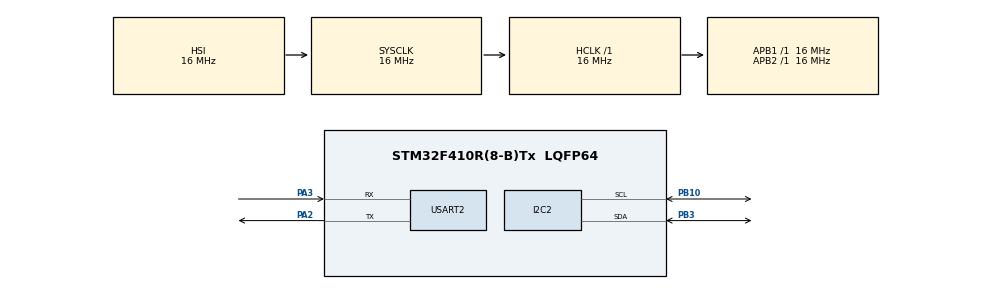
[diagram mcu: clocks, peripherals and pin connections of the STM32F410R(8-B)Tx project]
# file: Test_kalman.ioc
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Mcu.Family=STM32F4
Mcu.Name=STM32F410R(8-B)Tx
Mcu.Package=LQFP64
NVIC.PriorityGroup=NVIC_PRIORITYGROUP_4
PA13.Mode=Serial_Wire
PA13.Signal=SYS_JTMS-SWDIO
PA14.Mode=Serial_Wire
PA14.Signal=SYS_JTCK-SWCLK
PA2.Mode=Asynchronous
PA2.Signal=USART2_TX
PA3.Mode=Asynchronous
PA3.Signal=USART2_RX
PB10.Mode=I2C
PB10.Signal=I2C2_SCL
PB3.Mode=I2C
PB3.Signal=I2C2_SDA
PH0\ -\ OSC_IN.Mode=HSE-External-Oscillator
PH0\ -\ OSC_IN.Signal=RCC_OSC_IN
PH1\ -\ OSC_OUT.Mode=HSE-External-Oscillator
PH1\ -\ OSC_OUT.Signal=RCC_OSC_OUT
ProjectManager.HeapSize=0x200
ProjectManager.StackSize=0x400
ProjectManager.TargetToolchain=Makefile
RCC.AHBFreq_Value=16000000
RCC.APB1Freq_Value=16000000
RCC.APB2Freq_Value=16000000
RCC.CortexFreq_Value=16000000
RCC.HSE_VALUE=25000000
RCC.HSI_VALUE=16000000
RCC.LSE_VALUE=32768
RCC.SYSCLKFreq_VALUE=16000000
RCC.VCOOutputFreq_Value=192000000
USART2.VirtualMode=VM_ASYNC
board=custom

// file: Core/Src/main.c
/* USER CODE BEGIN Header */
/**
  ******************************************************************************
  * @file           : main.c
  * @brief          : Main program body
  ******************************************************************************
  * @attention
  *
  * Copyright (c) 2023 STMicroelectronics.
  * All rights reserved.
  *
  * This software is licensed under terms that can be found in the LICENSE file
  * in the root directory of this software component.
  * If no LICENSE file comes with this software, it is provided AS-IS.
  *
  ******************************************************************************
  */
/* USER CODE END Header */
#include "main.h"

/* USER CODE BEGIN Includes */
#include <stdio.h>
#include "mpu9255.h"
/* USER CODE END Includes */

I2C_HandleTypeDef hi2c2;

UART_HandleTypeDef huart2;

/* USER CODE BEGIN PV */
MPU9255_t MPU9255;
/* USER CODE END PV */

void SystemClock_Config(void);
static void MX_GPIO_Init(void);
static void MX_I2C2_Init(void);
static void MX_USART2_UART_Init(void);

/* USER CODE BEGIN 0 */
int _write(int file, char *ptr, int len)
{
	HAL_UART_Transmit(&huart2, (uint8_t*)ptr, len, HAL_MAX_DELAY);
	return len;
}

float pitch1;
float yaw1;
float roll1;
/* USER CODE END 0 */

int main(void)
{

  /* MCU Configuration--------------------------------------------------------*/

  /* Reset of all peripherals, Initializes the Flash interface and the Systick. */
  HAL_Init();

  /* Configure the system clock */
  SystemClock_Config();

  /* Initialize all configured peripherals */
  MX_GPIO_Init();
  MX_I2C2_Init();
  MX_USART2_UART_Init();
  /* USER CODE BEGIN 2 */
  while (MPU9255_Init(&hi2c2) == 1);

  //int count;

  HAL_Delay(3000);
  uint16_t count = 0;
  /* USER CODE END 2 */

  /* Infinite loop */
  while (1)
  {

    /* USER CODE BEGIN 3 */
    readAll(&hi2c2, &MPU9255);

	  pitch1 = MPU9255.pitch;
	  yaw1 = MPU9255.yaw;
	  roll1= MPU9255.roll;

	if (count == 10){
		printf("%f\t", yaw1);
		printf("%f\t", pitch1);
		printf("%f\t\n", roll1);
		count = 0;
	}
	count++;
  }
  /* USER CODE END 3 */
}

void SystemClock_Config(void)
{
  RCC_OscInitTypeDef RCC_OscInitStruct = {0};
  RCC_ClkInitTypeDef RCC_ClkInitStruct = {0};

  /** Configure the main internal regulator output voltage
  */
  __HAL_RCC_PWR_CLK_ENABLE();
  __HAL_PWR_VOLTAGESCALING_CONFIG(PWR_REGULATOR_VOLTAGE_SCALE1);

  /** Initializes the RCC Oscillators according to the specified parameters
  * in the RCC_OscInitTypeDef structure.
  */
  RCC_OscInitStruct.OscillatorType = RCC_OSCILLATORTYPE_HSI;
  RCC_OscInitStruct.HSIState = RCC_HSI_ON;
  RCC_OscInitStruct.HSICalibrationValue = RCC_HSICALIBRATION_DEFAULT;
  RCC_OscInitStruct.PLL.PLLState = RCC_PLL_NONE;
  if (HAL_RCC_OscConfig(&RCC_OscInitStruct) != HAL_OK)
  {
    Error_Handler();
  }

  /** Initializes the CPU, AHB and APB buses clocks
  */
  RCC_ClkInitStruct.ClockType = RCC_CLOCKTYPE_HCLK|RCC_CLOCKTYPE_SYSCLK
                              |RCC_CLOCKTYPE_PCLK1|RCC_CLOCKTYPE_PCLK2;
  RCC_ClkInitStruct.SYSCLKSource = RCC_SYSCLKSOURCE_HSI;
  RCC_ClkInitStruct.AHBCLKDivider = RCC_SYSCLK_DIV1;
  RCC_ClkInitStruct.APB1CLKDivider = RCC_HCLK_DIV1;
  RCC_ClkInitStruct.APB2CLKDivider = RCC_HCLK_DIV1;

  if (HAL_RCC_ClockConfig(&RCC_ClkInitStruct, FLASH_LATENCY_0) != HAL_OK)
  {
    Error_Handler();
  }
}

static void MX_I2C2_Init(void)
{

  hi2c2.Instance = I2C2;
  hi2c2.Init.ClockSpeed = 100000;
  hi2c2.Init.DutyCycle = I2C_DUTYCYCLE_2;
  hi2c2.Init.OwnAddress1 = 0;
  hi2c2.Init.AddressingMode = I2C_ADDRESSINGMODE_7BIT;
  hi2c2.Init.DualAddressMode = I2C_DUALADDRESS_DISABLE;
  hi2c2.Init.OwnAddress2 = 0;
  hi2c2.Init.GeneralCallMode = I2C_GENERALCALL_DISABLE;
  hi2c2.Init.NoStretchMode = I2C_NOSTRETCH_DISABLE;
  if (HAL_I2C_Init(&hi2c2) != HAL_OK)
  {
    Error_Handler();
  }

}

static void MX_USART2_UART_Init(void)
{

  huart2.Instance = USART2;
  huart2.Init.BaudRate = 115200;
  huart2.Init.WordLength = UART_WORDLENGTH_8B;
  huart2.Init.StopBits = UART_STOPBITS_1;
  huart2.Init.Parity = UART_PARITY_NONE;
  huart2.Init.Mode = UART_MODE_TX_RX;
  huart2.Init.HwFlowCtl = UART_HWCONTROL_NONE;
  huart2.Init.OverSampling = UART_OVERSAMPLING_16;
  if (HAL_UART_Init(&huart2) != HAL_OK)
  {
    Error_Handler();
  }

}

static void MX_GPIO_Init(void)
{

  /* GPIO Ports Clock Enable */
  __HAL_RCC_GPIOH_CLK_ENABLE();
  __HAL_RCC_GPIOA_CLK_ENABLE();
  __HAL_RCC_GPIOB_CLK_ENABLE();

}

void Error_Handler(void)
{
  __disable_irq();
  while (1)
  {
  }
}
